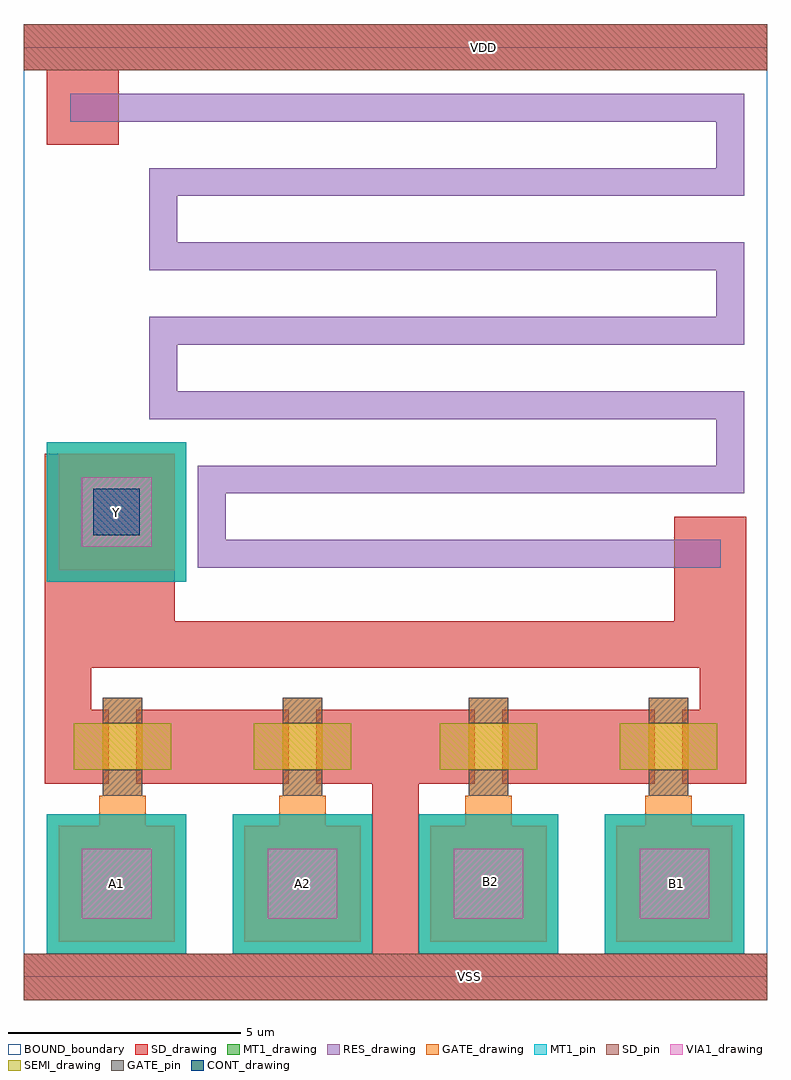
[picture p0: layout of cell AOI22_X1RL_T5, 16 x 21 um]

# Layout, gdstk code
from math import pi, radians
import gdstk
lib = gdstk.Library(unit=1e-6, precision=1e-09)
def R(c, l, rs):  # rectangles x0, y0, x1, y1
    for r in rs: c.add(gdstk.rectangle(r[:2], r[2:], *l))
def A(c, l, x, y, w, h, nx, ny, dx, dy):  # array of equal rectangles
    R(c, l, [(x+i*dx, y+j*dy, x+i*dx+w, y+j*dy+h) for i in range(nx) for j in range(ny)])
def P(c, l, *ps):  # polygons
    for p in ps: c.add(gdstk.Polygon(p, *l))
RES_drawing = (1, 0)
SEMI_drawing = (3, 0)
SD_drawing = (10, 0)
SD_pin = (10, 3)
GATE_drawing = (11, 0)
GATE_pin = (11, 3)
MT1_drawing = (20, 0)
MT1_pin = (20, 3)
CONT_drawing = (30, 0)
VIA1_drawing = (41, 0)
BOUND_boundary = (150, 5)

nch_cdns_772544862210 = lib.new_cell('nch_CDNS_772544862210')
R(nch_cdns_772544862210, SEMI_drawing, [(-1.05,-0.5,1.05,0.5)])
R(nch_cdns_772544862210, SD_drawing, [(-1.3,-0.8,-0.3,0.8), (0.3,-0.8,1.3,0.8)])
R(nch_cdns_772544862210, GATE_drawing, [(-0.425,-1.05,0.425,1.05)])
R(nch_cdns_772544862210, GATE_pin, [(-0.425,-1.05,0.425,-0.5), (-0.425,0.5,0.425,1.05)])

gate_mt1_cdns_7725448622 = lib.new_cell('GATE_MT1_CDNS_772544862210')
R(gate_mt1_cdns_7725448622, GATE_drawing, [(-1.25,-1.25,1.25,1.25)])
R(gate_mt1_cdns_7725448622, MT1_drawing, [(-1.25,-1.25,1.25,1.25)])
R(gate_mt1_cdns_7725448622, VIA1_drawing, [(-0.75,-0.75,0.75,0.75)])

sd_gate_cdns_77254486221 = lib.new_cell('SD_GATE_CDNS_772544862211')
R(sd_gate_cdns_77254486221, SD_drawing, [(-1,-1,1,1)])
R(sd_gate_cdns_77254486221, GATE_drawing, [(-1,-1,1,1)])
R(sd_gate_cdns_77254486221, CONT_drawing, [(-0.5,-0.5,0.5,0.5)])

aoi22_x1rl_t5 = lib.new_cell('AOI22_X1RL_T5')
R(aoi22_x1rl_t5, SD_drawing, [(7.3,4.15,8.7,5.75), (0.5,7.65,3.25,11.25), (14,7.65,15.55,9.9), (0.75,8.75,3.25,11.25), (0.5,17.9,2.05,19.5)])
R(aoi22_x1rl_t5, SD_pin, [(0,-0.5,16,0.5), (0,19.5,16,20.5)])
P(aoi22_x1rl_t5, GATE_drawing, [(13.375,3.8),(14.375,3.8),(14.375,3.9),(14.25,3.9),(14.25,3.95),(13.5,3.95),(13.5,3.9),(13.375,3.9)],
  [(9.5,3.8),(10.5,3.8),(10.5,3.9),(10.375,3.9),(10.375,3.95),(9.625,3.95),(9.625,3.9),(9.5,3.9)],
  [(1.625,3.8),(2.625,3.8),(2.625,3.9),(2.5,3.9),(2.5,3.95),(1.75,3.95),(1.75,3.9),(1.625,3.9)],
  [(5.5,3.8),(6.5,3.8),(6.5,3.9),(6.375,3.9),(6.375,3.95),(5.625,3.95),(5.625,3.9),(5.5,3.9)])
A(aoi22_x1rl_t5, MT1_drawing, 0.5, 0.5, 3, 3, 4, 1, 4, 0)
R(aoi22_x1rl_t5, MT1_drawing, [(8.75,0.75,11.25,3.25), (12.75,0.75,15.25,3.25), (0.5,8.5,3.5,11.5)])
A(aoi22_x1rl_t5, MT1_pin, 0.5, 0.5, 3, 3, 4, 1, 4, 0)
R(aoi22_x1rl_t5, MT1_pin, [(0.5,8.5,3.5,11.5)])
R(aoi22_x1rl_t5, BOUND_boundary, [(0,0,16,20)])
aoi22_x1rl_t5.add(gdstk.FlexPath([(1,7.15),(15.05,7.15)], 1, ends="extended", simple_path=True, layer=10, datatype=0))  # SD_drawing
aoi22_x1rl_t5.add(gdstk.FlexPath([(15.05,7.15),(15.05,4.15)], 1, ends=(0.5, 0), simple_path=True, layer=10, datatype=0))  # SD_drawing
aoi22_x1rl_t5.add(gdstk.FlexPath([(8,4.15),(8,0.5)], 1, ends="flush", simple_path=True, layer=10, datatype=0))  # SD_drawing
aoi22_x1rl_t5.add(gdstk.FlexPath([(11.3,4.95),(12.8,4.95)], 1.6, ends="flush", simple_path=True, layer=10, datatype=0))  # SD_drawing
aoi22_x1rl_t5.add(gdstk.FlexPath([(0.95,4.15),(0.95,11.25)], 1, ends="flush", simple_path=True, layer=10, datatype=0))  # SD_drawing
aoi22_x1rl_t5.add(gdstk.FlexPath([(3.425,4.95),(4.7,4.95)], 1.6, ends="flush", simple_path=True, layer=10, datatype=0))  # SD_drawing
aoi22_x1rl_t5.add(gdstk.FlexPath([(7.3,4.85),(7.5,4.85)], 1.4, ends="flush", simple_path=True, layer=10, datatype=0))  # SD_drawing
aoi22_x1rl_t5.add(gdstk.FlexPath([(8.7,4.85),(8,4.85)], 1.4, ends=(0, 0.5), simple_path=True, layer=10, datatype=0))  # SD_drawing
aoi22_x1rl_t5.add(gdstk.FlexPath([(0,20),(16,20)], 1, ends="flush", simple_path=True, layer=10, datatype=0))  # SD_drawing
aoi22_x1rl_t5.add(gdstk.FlexPath([(0,0),(16,0)], 1, ends="flush", simple_path=True, layer=10, datatype=0))  # SD_drawing
aoi22_x1rl_t5.add(gdstk.FlexPath([(13.875,3.8),(13.875,2)], 1, ends="flush", simple_path=True, layer=11, datatype=0))  # GATE_drawing
aoi22_x1rl_t5.add(gdstk.FlexPath([(10,3.8),(10,2)], 1, ends="flush", simple_path=True, layer=11, datatype=0))  # GATE_drawing
aoi22_x1rl_t5.add(gdstk.FlexPath([(6,3.8),(6,2)], 1, ends="flush", simple_path=True, layer=11, datatype=0))  # GATE_drawing
aoi22_x1rl_t5.add(gdstk.FlexPath([(2.125,1.95),(2.125,3.8)], 1, ends="flush", simple_path=True, layer=11, datatype=0))  # GATE_drawing
aoi22_x1rl_t5.add(gdstk.FlexPath([(1,18.7),(15.2,18.7),(15.2,17.1),(3,17.1),(3,15.5),(15.2,15.5),(15.2,13.9),(3,13.9),(3,12.3),(15.2,12.3),(15.2,10.7),(4.05,10.7),(4.05,9.1),(15,9.1)], 0.6, ends="flush", simple_path=True, layer=1, datatype=0))  # RES_drawing
aoi22_x1rl_t5.add(gdstk.Reference(nch_cdns_772544862210, (2.125,4.95)))
aoi22_x1rl_t5.add(gdstk.Reference(nch_cdns_772544862210, (13.875,4.95)))
aoi22_x1rl_t5.add(gdstk.Reference(nch_cdns_772544862210, (6,4.95), rotation=pi))
aoi22_x1rl_t5.add(gdstk.Reference(nch_cdns_772544862210, (10,4.95)))
aoi22_x1rl_t5.add(gdstk.Reference(gate_mt1_cdns_7725448622, (14,2)))
aoi22_x1rl_t5.add(gdstk.Reference(gate_mt1_cdns_7725448622, (10,2)))
aoi22_x1rl_t5.add(gdstk.Reference(gate_mt1_cdns_7725448622, (6,2)))
aoi22_x1rl_t5.add(gdstk.Reference(gate_mt1_cdns_7725448622, (2,2)))
aoi22_x1rl_t5.add(gdstk.Reference(gate_mt1_cdns_7725448622, (2,10)))
aoi22_x1rl_t5.add(gdstk.Reference(sd_gate_cdns_77254486221, (2,10)))
aoi22_x1rl_t5.add(gdstk.Label('B1', (14.05,2), layer=20, texttype=3))
aoi22_x1rl_t5.add(gdstk.Label('B2', (10.05,2.05), layer=20, texttype=3))
aoi22_x1rl_t5.add(gdstk.Label('A2', (6,2), layer=20, texttype=3))
aoi22_x1rl_t5.add(gdstk.Label('A1', (2,2), layer=20, texttype=3))
aoi22_x1rl_t5.add(gdstk.Label('Y', (2,10), layer=20, texttype=3))
aoi22_x1rl_t5.add(gdstk.Label('VSS', (9.6,0), layer=10, texttype=3))
aoi22_x1rl_t5.add(gdstk.Label('VDD', (9.9,20), layer=10, texttype=3))

lib.write_gds('AOI22_X1RL_T5.gds')
